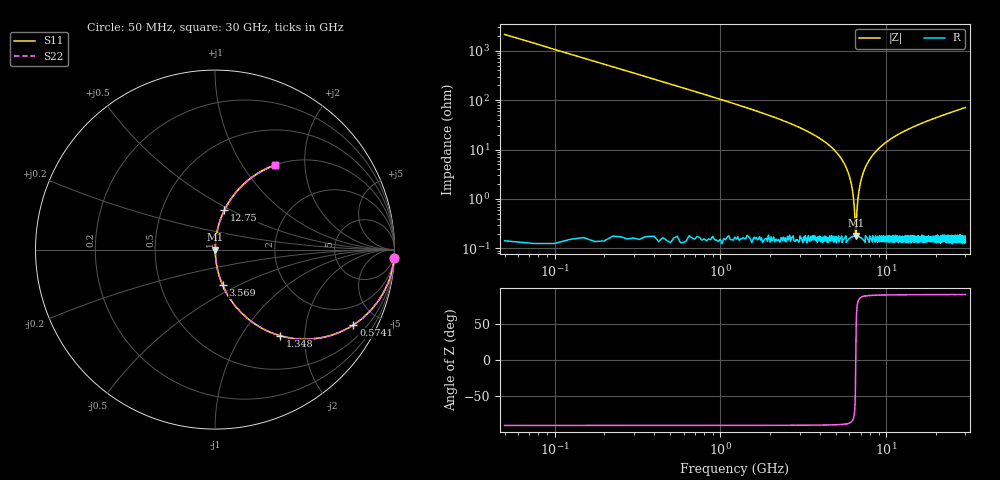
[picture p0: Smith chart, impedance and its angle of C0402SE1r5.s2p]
!	AVX Thin Film Operation 	Date: April 2014
!	Description: Accu-P® Series, Thin Film  SMD RF Capacitor
!	Part Number: 04021J1R5PBSTR
# MHZ S MA R 50
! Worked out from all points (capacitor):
!   1201 points, 50 MHz to 30 GHz, reference 50 ohm
!   read as one part in series: C = 1.5 pF near 199.8 MHz
!   lowest |Z| = 183 mohm at 6.539 GHz (marker M1)
!   series resonance near 6.547 GHz, so ESL is about 390 pH
!   S11 on the Smith chart (normalised r, x): 50 MHz: 1, -42; 574.1 MHz: 1.00, -3.67; 1.348 GHz: 1.00, -1.51; 3.569 GHz: 1.00, -0.42; 12.75 GHz: 1.00, +0.46; 30 GHz: 1.00, +1.41
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50  0.999 -2.7  0.047 87.3  0.047 87.3  0.999 -2.7
299.583  0.962 -15.8  0.272 74.2  0.272 74.2  0.962 -15.8
574.125  0.878 -28.6  0.479 61.4  0.479 61.4  0.878 -28.6
1347.833  0.601 -52.9  0.798 37.0  0.798 37.0  0.601 -52.9
2221.375  0.389 -66.9  0.92 22.9  0.92 22.9  0.389 -66.9
3569.125  0.204 -77.8  0.977 11.8  0.977 11.8  0.204 -77.8
5041.667  0.085 -84.1  0.995 4.9  0.995 4.9  0.085 -84.1
6015.042  0.027 -85.2  0.998 1.6  0.998 1.6  0.027 -85.2
6239.667  0.016 -83.4  0.998 0.9  0.998 0.9  0.016 -83.4
6439.333  0.00558 -73.4  0.998 0.3  0.998 0.3  0.00558 -73.4
6539.167  0.001612 -13.4  0.998 0.0  0.998 0.0  0.001612 -13.4
6639  0.004792 70.6  0.998 -0.3  0.998 -0.3  0.004792 70.6
6788.75  0.012 81.7  0.998 -0.7  0.998 -0.7  0.012 81.7
6938.5  0.019 84.2  0.998 -1.1  0.998 -1.1  0.019 84.2
7462.625  0.042 85.5  0.998 -2.4  0.998 -2.4  0.042 85.5
8411.042  0.082 84.2  0.995 -4.7  0.995 -4.7  0.082 84.2
10058.29  0.142 81.2  0.988 -8.2  0.988 -8.2  0.142 81.2
12753.79  0.226 76.5  0.973 -13.1  0.973 -13.1  0.226 76.5
15025  0.288 73.0  0.956 -16.7  0.956 -16.7  0.288 73.0
20016.67  0.404 66.0  0.913 -23.8  0.913 -23.8  0.404 66.0
25033.29  0.499 59.9  0.865 -30.0  0.865 -30.0  0.499 59.9
30000  0.577 54.6  0.816 -35.2  0.816 -35.2  0.577 54.6
